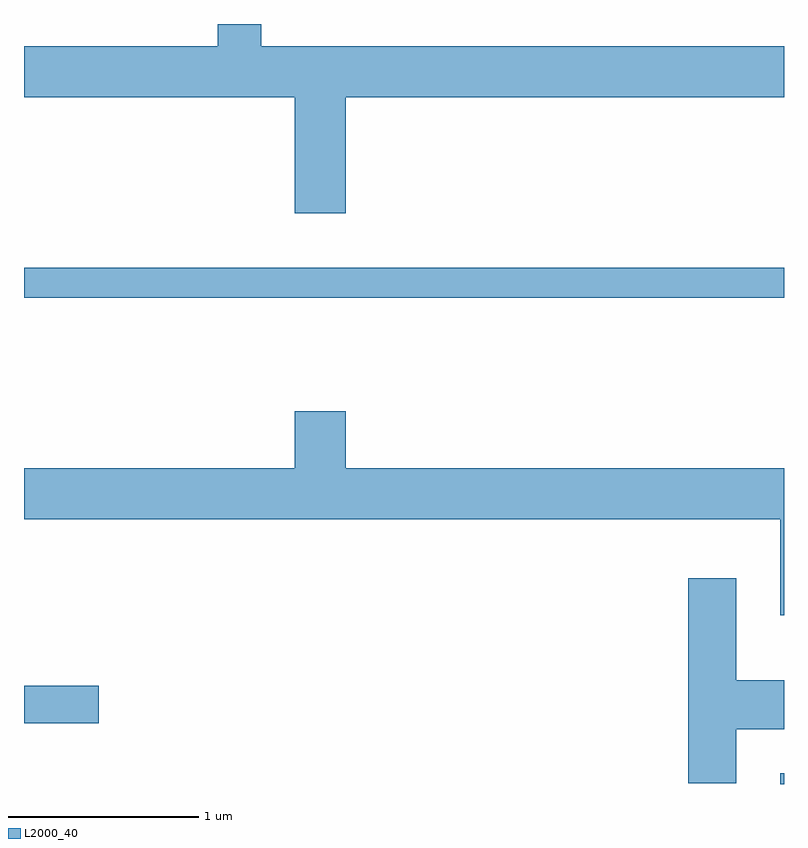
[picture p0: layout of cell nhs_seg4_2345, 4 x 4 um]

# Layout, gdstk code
import gdstk
lib = gdstk.Library(unit=1e-6, precision=1e-09)
def R(c, l, rs):  # rectangles x0, y0, x1, y1
    for r in rs: c.add(gdstk.rectangle(r[:2], r[2:], *l))
def P(c, l, *ps):  # polygons
    for p in ps: c.add(gdstk.Polygon(p, *l))
L2000_40 = (2000, 40)

nhs_seg4_2345 = lib.new_cell('nhs_seg4_2345')
R(nhs_seg4_2345, L2000_40, [(257.591,1319.982,257.611,1320.039), (253.611,1320.301,254.004,1320.499), (253.611,1322.541,257.611,1322.699)])
P(nhs_seg4_2345, L2000_40, [(255.304,1323.596),(257.611,1323.596),(257.611,1323.864),(254.859,1323.864),(254.859,1323.982),(254.631,1323.982),(254.631,1323.864),(253.611,1323.864),(253.611,1323.596),(255.036,1323.596),(255.036,1322.986),(255.304,1322.986)],
  [(257.611,1321.644),(255.304,1321.644),(255.304,1321.944),(255.036,1321.944),(255.036,1321.644),(253.611,1321.644),(253.611,1321.376),(257.591,1321.376),(257.591,1320.871),(257.611,1320.871)],
  [(257.359,1320.271),(257.611,1320.271),(257.611,1320.529),(257.359,1320.529),(257.359,1321.064),(257.106,1321.064),(257.106,1319.986),(257.359,1319.986)])

lib.write_gds('nhs_seg4_2345.gds')
